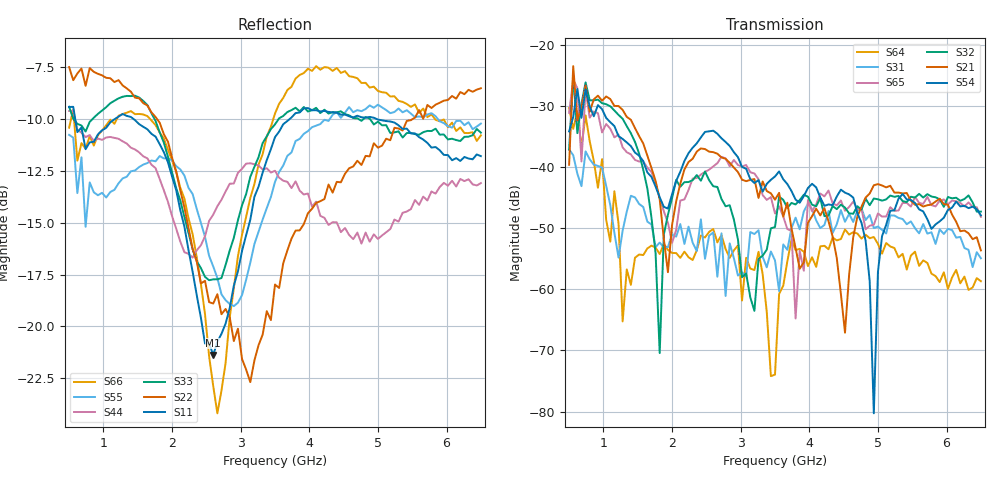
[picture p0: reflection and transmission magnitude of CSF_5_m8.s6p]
!Keysight Technologies,M9804A,MY58100912,A.14.10.03
!Date: Thursday, April 27, 2023 10:28:33
!Correction: S11(C  6-Port  )
!S12(C  6-Port  )
!S13(C  6-Port  )
!S14(C  6-Port  )
!S15(C  6-Port  )
!S16(C  6-Port  )
!S21(C  6-Port  )
!S22(C  6-Port  )
!S23(C  6-Port  )
!S24(C  6-Port  )
!S25(C  6-Port  )
!S26(C  6-Port  )
!S31(C  6-Port  )
!S32(C  6-Port  )
!S33(C  6-Port  )
!S34(C  6-Port  )
!S35(C  6-Port  )
!S36(C  6-Port  )
!S41(C  6-Port  )
!S42(C  6-Port  )
!S43(C  6-Port  )
!S44(C  6-Port  )
!S45(C  6-Port  )
!S46(C  6-Port  )
!S51(C  6-Port  )
!S52(C  6-Port  )
!S53(C  6-Port  )
!S54(C  6-Port  )
!S55(C  6-Port  )
!S56(C  6-Port  )
!S61(C  6-Port  )
!S62(C  6-Port  )
!S63(C  6-Port  )
!S64(C  6-Port  )
!S65(C  6-Port  )
!S66(C  6-Port  )
!S6P File: Measurement: :
# Hz S  RI  R 50
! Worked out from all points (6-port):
!   101 points, 500 MHz to 6.5 GHz, reference 50 ohm
!   strongest paths, dB at 500 MHz, 2 GHz, 3.5 GHz, 5 GHz, 6.5 GHz:
!     S54: -34.2, -44.4, -41.5, -57.1, -47.9
!     S21: -39.6, -49.5, -45.3, -42.8, -53.6
!     S32: -37.1, -45.1, -49.8, -45.3, -47.3
!     S65: -31.1, -52.4, -47.6, -47.6, -48.1
!     S31: -37.1, -50.9, -55.3, -49.7, -54.9
!     S64: -30.3, -54.0, -73.9, -52.6, -58.7
!   lowest |S11| = -21.4 dB at 2.6 GHz (marker M1), VSWR 1.19, Z = 42.4 + j2.2 ohm
!   |S11| at or under -10 dB: 588.8 MHz to 1.167 GHz (578.3 MHz wide, 65.9 % of centre); 1.438 GHz to 3.715 GHz (2.277 GHz wide, 88.4 % of centre); 4.98 GHz to end of sweep
